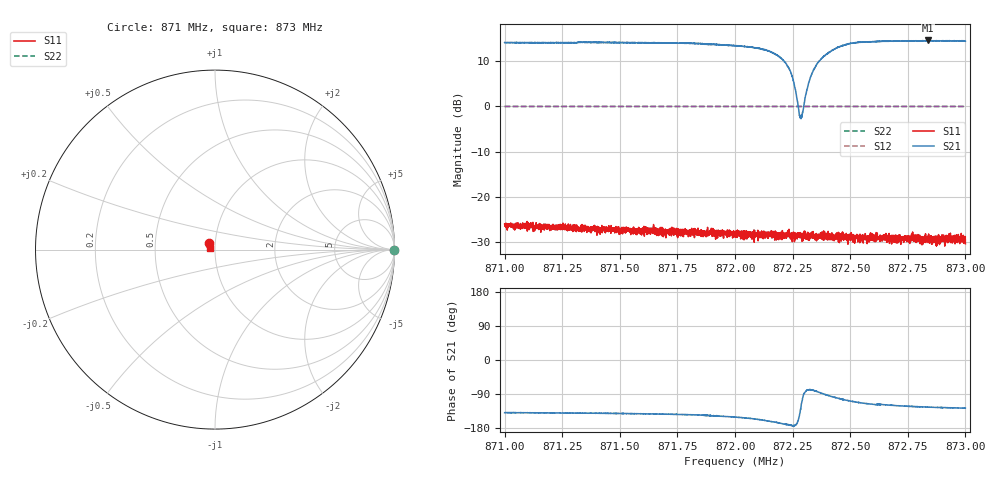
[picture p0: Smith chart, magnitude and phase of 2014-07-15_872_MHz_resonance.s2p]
! Anritsu VNA Master:  Model: MS2034B
! SN:  1324090
! /card0/usr/high-freq.s2p
! Existing Calibration Information:
! TYPE:  Current Settings,  Active Cal Settings
! TIME:  07/15/2014 10:40:14 AM,  05/16/2014 07:31:05 AM
! INTERNAL TEMP:  46.3 C,  49.0 C
! # POINTS:  4001,  401
! START FREQ:  870.999 500 MHz,  500.000 kHz
! STOP FREQ:  873.000 500 MHz,  4.000 GHz
! SOURCE POWER:  Low,  High
! IFBW:  1 kHz,  100 Hz
! AVG FACTOR:  1 ,  1
! REF PLANE 1:  18.7717 m,  0 mm
! REF PLANE 2:  0 mm,  0 mm
! CAL TYPE:  Response S21,  Response S21
! CAL METHOD:  SOLT,  SOLT
! CAL LINE TYPE:  Coax,  Coax
! DUT PORT 1:  SMA(F),  SMA(F)
! DUT PORT 2:  N-Conn(M),  N-Conn(M)
! CAL STATUS:  OFF,  --
# GHZ S MA R 50.0
! FREQ.GHZ  S11M  S11A  S21M  S21A  S12M  S12A  S22M  S22A
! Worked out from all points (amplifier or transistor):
!   4001 points, 871 MHz to 873 MHz, reference 50 ohm
!   highest |S21| = 14.6 dB at 872.838 MHz (marker M1)
!   |S21| within 3 dB of that: start of sweep to 872.173 MHz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
!   unconditionally stable (mu >= 1): nowhere
!   at 871.333 MHz: K = 2.56, MSG = 7.1 dB, |S12| = 0.0 dB
!   at 872 MHz: K = 2.33, MSG = 6.7 dB, |S12| = 0.0 dB
!   at 873 MHz: K = 2.63, MSG = 7.2 dB, |S12| = 0.0 dB
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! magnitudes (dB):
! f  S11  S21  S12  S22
! 871 MHz  -26.0  14.1  0.0  0.0
! 871.333 MHz  -27.4  14.2  0.0  0.0
! 871.667 MHz  -27.6  14.0  0.0  0.0
! 872 MHz  -28.3  13.4  0.0  0.0
! 872.135 MHz  -28.1  12.5  0.0  0.0
! 872.209 MHz  -28.0  10.3  0.0  0.0
! 872.231 MHz  -28.1  8.7  0.0  0.0
! 872.247 MHz  -28.9  6.9  0.0  0.0
! 872.259 MHz  -29.0  4.4  0.0  0.0
! 872.278 MHz  -28.7  -1.3  0.0  0.0
! 872.286 MHz  -28.0  -2.5  0.0  0.0
! 872.293 MHz  -28.1  -1.3  0.0  0.0
! 872.314 MHz  -28.7  3.9  0.0  0.0
! 872.334 MHz  -28.6  7.3  0.0  0.0
! 872.355 MHz  -28.3  9.3  0.0  0.0
! 872.379 MHz  -29.3  10.8  0.0  0.0
! 872.452 MHz  -29.2  13.1  0.0  0.0
! 872.533 MHz  -28.4  14.2  0.0  0.0
! 872.667 MHz  -29.1  14.5  0.0  0.0
! 872.838 MHz  -28.7  14.6  0.0  0.0
! 872.99 MHz  -28.7  14.5  0.0  0.0
! 873 MHz  -30.3  14.4  0.0  0.0
